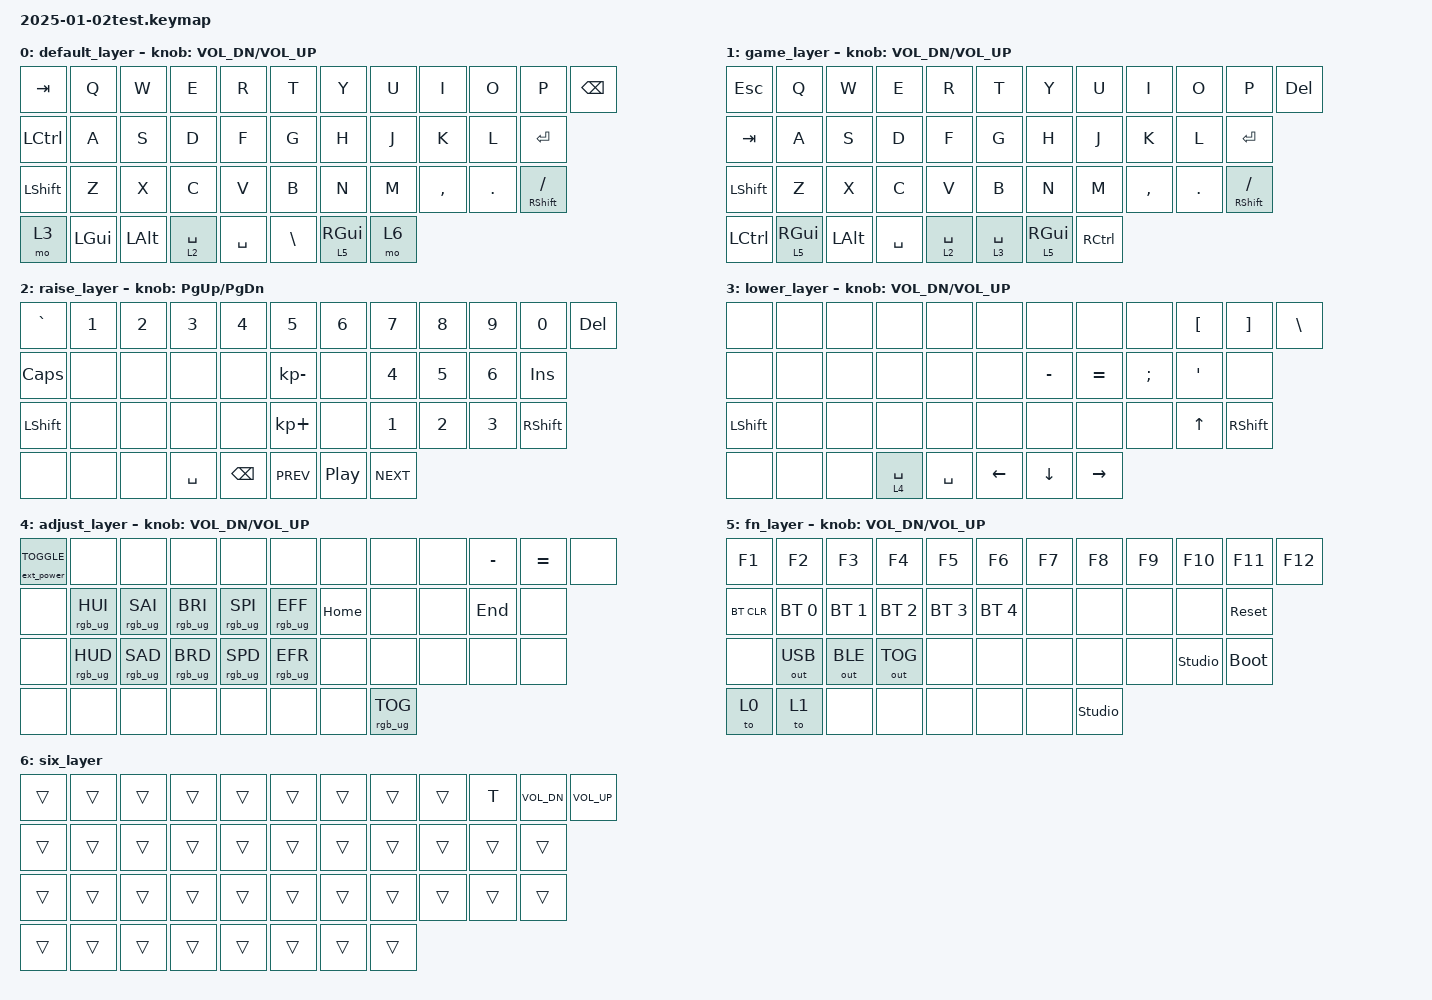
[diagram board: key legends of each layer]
#include <behaviors.dtsi>
#include <dt-bindings/zmk/bt.h>
#include <dt-bindings/zmk/ext_power.h>
#include <dt-bindings/zmk/keys.h>
#include <dt-bindings/zmk/outputs.h>
#include <dt-bindings/zmk/rgb.h>

// changed lwr and rse

#define DEF 0
#define GAM 1
#define RSE 2
#define LWR 3
#define ADJ 4
#define FN  5

&lt { tapping-term-ms = <170>; };

/ {
    combos {
        compatible = "zmk,combos";

        esc {
            bindings = <&kp ESCAPE>;
            key-positions = <0 1>;
            timeout-ms = <40>;
        };

        erHome {
            bindings = <&kp HOME>;
            key-positions = <3 4>;
            timeout-ms = <35>;
        };

        uiEnd {
            bindings = <&kp END>;
            key-positions = <7 8>;
            timeout-ms = <35>;
        };
    };

    keymap {
        compatible = "zmk,keymap";

        default_layer {
            bindings = <
&kp TAB           &kp Q     &kp W     &kp E        &kp R      &kp T     &kp Y       &kp U  &kp I      &kp O    &kp P             &kp BSPC
&kp LEFT_CONTROL  &kp A     &kp S     &kp D        &kp F      &kp G     &kp H       &kp J  &kp K      &kp L    &kp ENTER
&kp LSHFT         &kp Z     &kp X     &kp C        &kp V      &kp B     &kp N       &kp M  &kp COMMA  &kp DOT  &mt RSHIFT SLASH
&mo 3             &kp LGUI  &kp LALT  &lt 2 SPACE  &kp SPACE  &kp BSLH  &lt 5 RGUI  &mo 6
            >;

            sensor-bindings = <&inc_dec_kp C_VOL_DN C_VOL_UP>;
        };

        game_layer {
            bindings = <
&kp ESC    &kp Q       &kp W     &kp E      &kp R        &kp T        &kp Y       &kp U      &kp I      &kp O    &kp P             &kp DEL
&kp TAB    &kp A       &kp S     &kp D      &kp F        &kp G        &kp H       &kp J      &kp K      &kp L    &kp ENTER
&kp LSHFT  &kp Z       &kp X     &kp C      &kp V        &kp B        &kp N       &kp M      &kp COMMA  &kp DOT  &mt RSHIFT SLASH
&kp LCTRL  &lt 5 RGUI  &kp LALT  &kp SPACE  &lt 2 SPACE  &lt 3 SPACE  &lt 5 RGUI  &kp RCTRL
            >;

            sensor-bindings = <&inc_dec_kp C_VOL_DN C_VOL_UP>;
        };

        raise_layer {
            bindings = <
&kp GRAVE  &kp N1  &kp N2  &kp N3     &kp N4         &kp N5        &kp N6    &kp N7      &kp N8  &kp N9  &kp N0     &kp DEL
&kp CAPS   &none   &none   &none      &none          &kp KP_MINUS  &none     &kp N4      &kp N5  &kp N6  &kp INS
&kp LSHFT  &none   &none   &none      &none          &kp KP_PLUS   &none     &kp N1      &kp N2  &kp N3  &kp RSHFT
&none      &none   &none   &kp SPACE  &kp BACKSPACE  &kp C_PREV    &kp C_PP  &kp C_NEXT
            >;

            sensor-bindings = <&inc_dec_kp PG_UP PG_DN>;
        };

        lower_layer {
            bindings = <
&none      &none  &none  &none        &none      &none           &none           &none            &none     &kp LBKT      &kp RBKT   &kp BSLH
&none      &none  &none  &none        &none      &none           &kp MINUS       &kp EQUAL        &kp SEMI  &kp SQT       &none
&kp LSHFT  &none  &none  &none        &none      &none           &none           &none            &none     &kp UP_ARROW  &kp RSHFT
&none      &none  &none  &lt 4 SPACE  &kp SPACE  &kp LEFT_ARROW  &kp DOWN_ARROW  &kp RIGHT_ARROW
            >;

            sensor-bindings = <&inc_dec_kp C_VOL_DN C_VOL_UP>;
        };

        adjust_layer {
            bindings = <
&ext_power EXT_POWER_TOGGLE_CMD  &none            &none            &none            &none            &none            &none     &none            &none  &kp MINUS  &kp EQUAL  &none
&none                            &rgb_ug RGB_HUI  &rgb_ug RGB_SAI  &rgb_ug RGB_BRI  &rgb_ug RGB_SPI  &rgb_ug RGB_EFF  &kp HOME  &none            &none  &kp END    &none
&none                            &rgb_ug RGB_HUD  &rgb_ug RGB_SAD  &rgb_ug RGB_BRD  &rgb_ug RGB_SPD  &rgb_ug RGB_EFR  &none     &none            &none  &none      &none
&none                            &none            &none            &none            &none            &none            &none     &rgb_ug RGB_TOG
            >;

            sensor-bindings = <&inc_dec_kp C_VOL_DN C_VOL_UP>;
        };

        fn_layer {
            bindings = <
&kp F1      &kp F2        &kp F3        &kp F4        &kp F5        &kp F6        &kp F7  &kp F8          &kp F9  &kp F10         &kp F11      &kp F12
&bt BT_CLR  &bt BT_SEL 0  &bt BT_SEL 1  &bt BT_SEL 2  &bt BT_SEL 3  &bt BT_SEL 4  &none   &none           &none   &none           &sys_reset
&none       &out OUT_USB  &out OUT_BLE  &out OUT_TOG  &none         &none         &none   &none           &none   &studio_unlock  &bootloader
&to 0       &to 1         &none         &none         &none         &none         &none   &studio_unlock
            >;

            sensor-bindings = <&inc_dec_kp C_VOL_DN C_VOL_UP>;
        };

        six_layer {
            bindings = <
&trans  &trans  &trans  &trans  &trans  &trans  &trans  &trans  &trans  &kp T   &kp C_VOL_DN  &kp C_VOL_UP
&trans  &trans  &trans  &trans  &trans  &trans  &trans  &trans  &trans  &trans  &trans
&trans  &trans  &trans  &trans  &trans  &trans  &trans  &trans  &trans  &trans  &trans
&trans  &trans  &trans  &trans  &trans  &trans  &trans  &trans
            >;
        };

        extra1 { status = "reserved"; };

        extra2 { status = "reserved"; };
    };
};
